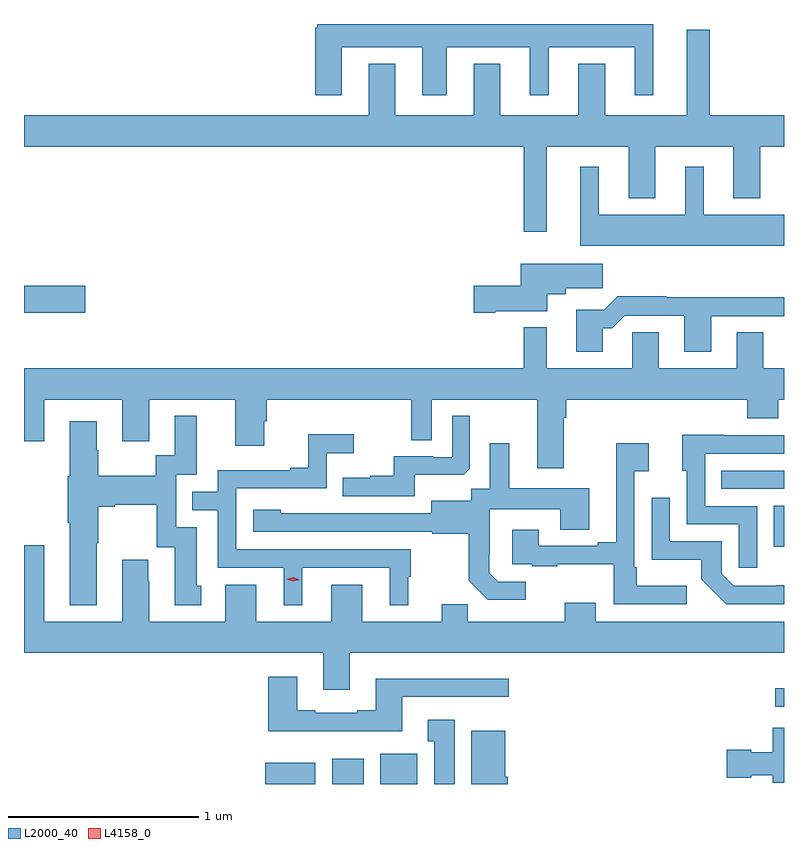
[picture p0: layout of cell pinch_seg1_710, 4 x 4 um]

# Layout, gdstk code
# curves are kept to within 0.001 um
import gdstk
lib = gdstk.Library(unit=1e-6, precision=1e-09)
def R(c, l, rs):  # rectangles x0, y0, x1, y1
    for r in rs: c.add(gdstk.rectangle(r[:2], r[2:], *l))
def P(c, l, *ps):  # polygons
    for p in ps: c.add(gdstk.Polygon(p, *l))
L2000_40 = (2000, 40)
L4158_0 = (4158, 0)

pinch_seg1_710 = lib.new_cell('pinch_seg1_710')
R(pinch_seg1_710, L2000_40, [(639.986,519.073,640.249,519.184), (640.337,519.073,640.504,519.205), (640.589,519.073,640.786,519.232), (642.669,519.48,642.715,519.578), (642.662,520.322,642.715,520.537), (642.385,520.626,642.715,520.722), (638.715,521.554,639.037,521.696)])
P(pinch_seg1_710, L2000_40, [(640.387,522.95),(640.811,522.95),(640.811,522.699),(640.939,522.699),(640.939,522.95),(641.378,522.95),(641.378,522.699),(641.476,522.699),(641.476,522.95),(641.93,522.95),(641.93,522.699),(642.028,522.699),(642.028,523.073),(640.259,523.073),(640.259,523.054),(640.247,523.054),(640.247,522.699),(640.387,522.699)],
  [(641.467,522.428),(641.897,522.428),(641.897,522.155),(642.037,522.155),(642.037,522.428),(642.449,522.428),(642.449,522.155),(642.589,522.155),(642.589,522.428),(642.715,522.428),(642.715,522.592),(642.325,522.592),(642.325,523.042),(642.203,523.042),(642.203,522.592),(641.773,522.592),(641.773,522.865),(641.633,522.865),(641.633,522.592),(641.221,522.592),(641.221,522.865),(641.081,522.865),(641.081,522.592),(640.669,522.592),(640.669,522.865),(640.529,522.865),(640.529,522.592),(638.715,522.592),(638.715,522.428),(641.346,522.428),(641.346,521.979),(641.467,521.979)],
  [(642.715,522.07),(642.292,522.07),(642.292,522.322),(642.194,522.322),(642.194,522.07),(641.74,522.07),(641.74,522.322),(641.642,522.322),(641.642,521.906),(642.715,521.906)],
  [(641.194,521.561),(641.47,521.561),(641.47,521.651),(641.566,521.651),(641.566,521.683),(641.761,521.683),(641.761,521.812),(641.33,521.812),(641.33,521.696),(641.082,521.696),(641.082,521.554),(641.194,521.554)],
  [(641.761,521.471),(641.81,521.471),(641.877,521.538),(642.191,521.538),(642.191,521.349),(642.331,521.349),(642.331,521.535),(642.715,521.535),(642.715,521.636),(642.095,521.636),(642.095,521.639),(641.84,521.639),(641.77,521.569),(641.621,521.569),(641.621,521.349),(641.761,521.349)],
  [(641.557,521),(641.57,521),(641.57,521.096),(642.521,521.096),(642.521,520.997),(642.685,520.997),(642.685,521.096),(642.715,521.096),(642.715,521.26),(642.607,521.26),(642.607,521.45),(642.467,521.45),(642.467,521.26),(642.055,521.26),(642.055,521.45),(641.916,521.45),(641.916,521.26),(641.467,521.26),(641.467,521.476),(641.346,521.476),(641.346,521.26),(638.715,521.26),(638.715,520.878),(638.821,520.878),(638.821,521.096),(639.233,521.096),(639.233,520.878),(639.373,520.878),(639.373,521.096),(639.827,521.096),(639.827,520.854),(639.979,520.854),(639.979,520.983),(639.992,520.983),(639.992,521.096),(640.752,521.096),(640.752,520.882),(640.86,520.882),(640.86,521.096),(641.417,521.096),(641.417,520.734),(641.557,520.734)],
  [(639.097,520.339),(639.105,520.339),(639.105,520.532),(639.193,520.532),(639.193,520.544),(639.413,520.544),(639.413,520.32),(639.509,520.32),(639.509,520.014),(639.649,520.014),(639.649,520.116),(639.625,520.116),(639.625,520.425),(639.516,520.425),(639.516,520.701),(639.625,520.701),(639.625,521.011),(639.509,521.011),(639.509,520.802),(639.408,520.802),(639.408,520.696),(639.105,520.696),(639.105,520.83),(639.097,520.83),(639.097,520.981),(638.957,520.981),(638.957,520.692),(638.945,520.692),(638.945,520.448),(638.957,520.448),(638.957,520.013),(639.097,520.013)],
  [(640.771,520.7),(641.029,520.7),(641.061,520.731),(641.061,521.011),(640.968,521.011),(640.968,520.794),(640.868,520.794),(640.868,520.797),(640.661,520.797),(640.661,520.696),(640.537,520.696),(640.537,520.684),(640.393,520.684),(640.393,520.587),(640.771,520.587)],
  [(640.18,520.212),(640.64,520.212),(640.64,520.013),(640.738,520.013),(640.738,520.164),(640.75,520.164),(640.75,520.308),(639.831,520.308),(639.831,520.629),(640.308,520.629),(640.308,520.814),(640.45,520.814),(640.45,520.913),(640.21,520.913),(640.21,520.738),(640.115,520.738),(640.115,520.725),(639.735,520.725),(639.735,520.611),(639.601,520.611),(639.601,520.515),(639.735,520.515),(639.735,520.212),(640.082,520.212),(640.082,520.013),(640.18,520.013)],
  [(642.573,520.536),(642.3,520.536),(642.3,520.812),(642.715,520.812),(642.715,520.908),(642.397,520.908),(642.397,520.91),(642.179,520.91),(642.179,520.722),(642.204,520.722),(642.204,520.44),(642.477,520.44),(642.477,520.212),(642.573,520.212)],
  [(642.202,520.117),(641.941,520.117),(641.941,520.213),(641.928,520.213),(641.928,520.718),(642.004,520.718),(642.004,520.867),(641.831,520.867),(641.831,520.345),(641.735,520.345),(641.735,520.326),(641.425,520.326),(641.425,520.411),(641.285,520.411),(641.285,520.23),(641.389,520.23),(641.389,520.218),(641.521,520.218),(641.521,520.229),(641.82,520.229),(641.82,520.02),(642.202,520.02)],
  [(641.356,520.137),(641.211,520.137),(641.164,520.184),(641.164,520.279),(641.166,520.279),(641.166,520.52),(641.537,520.52),(641.537,520.411),(641.689,520.411),(641.689,520.63),(641.269,520.63),(641.269,520.867),(641.165,520.867),(641.165,520.628),(641.07,520.628),(641.07,520.564),(640.859,520.564),(640.859,520.497),(640.065,520.498),(640.065,520.516),(639.921,520.516),(639.921,520.401),(640.863,520.401),(640.863,520.389),(641.055,520.389),(641.055,520.143),(641.155,520.043),(641.356,520.043)],
  [(642.715,520.118),(642.674,520.118),(642.674,520.116),(642.45,520.116),(642.387,520.179),(642.387,520.35),(642.114,520.35),(642.114,520.579),(642.018,520.579),(642.018,520.253),(642.28,520.253),(642.28,520.151),(642.41,520.02),(642.715,520.02)],
  [(639.37,520.139),(639.37,520.252),(639.233,520.252),(639.233,519.928),(638.821,519.928),(638.821,520.33),(638.715,520.33),(638.715,519.764),(640.289,519.764),(640.289,519.57),(640.429,519.57),(640.429,519.764),(642.715,519.764),(642.715,519.928),(641.725,519.928),(641.725,520.027),(641.561,520.027),(641.561,519.928),(641.051,519.928),(641.051,520.019),(640.913,520.019),(640.913,519.928),(640.495,519.928),(640.495,520.123),(640.331,520.123),(640.331,519.928),(639.937,519.928),(639.937,520.123),(639.773,520.123),(639.773,519.928),(639.373,519.928),(639.373,520.139)],
  [(640.705,519.531),(641.266,519.531),(641.266,519.628),(640.565,519.628),(640.565,519.46),(640.469,519.46),(640.469,519.447),(640.249,519.447),(640.249,519.46),(640.153,519.46),(640.153,519.637),(640.001,519.637),(640.001,519.35),(640.705,519.35)],
  [(640.981,519.412),(640.841,519.412),(640.841,519.299),(640.874,519.299),(640.874,519.073),(640.981,519.073)],
  [(642.715,519.37),(642.656,519.37),(642.656,519.241),(642.543,519.241),(642.543,519.254),(642.414,519.254),(642.414,519.107),(642.543,519.107),(642.543,519.119),(642.656,519.119),(642.656,519.08),(642.715,519.08)],
  [(641.261,519.112),(641.248,519.112),(641.248,519.352),(641.069,519.352),(641.069,519.073),(641.261,519.073)])
P(pinch_seg1_710, L4158_0, [(640.131,520.14),(640.095,520.151),(640.095,520.151),(640.095,520.151),(640.131,520.16),(640.167,520.149),(640.167,520.148),(640.167,520.148)])

lib.write_gds('pinch_seg1_710.gds')
